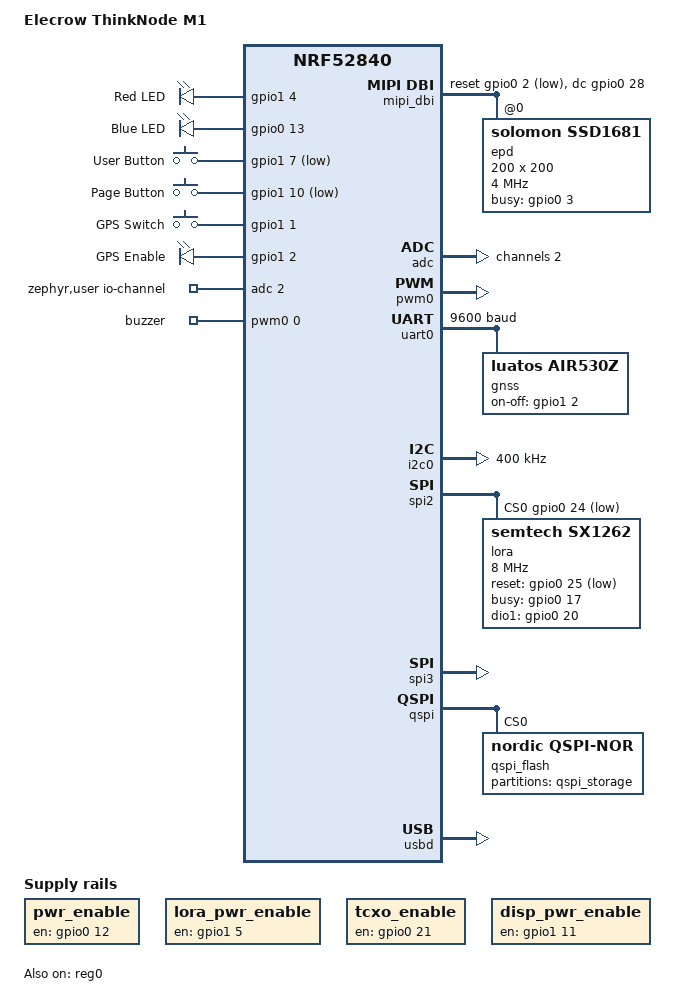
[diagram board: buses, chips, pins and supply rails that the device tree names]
/*
 * Elecrow ThinkNode M1 — nRF52840 + SX1262 + SSD1681 1.54" EPD
 * Copyright (c) 2025 ZephCore
 *
 * SPDX-License-Identifier: Apache-2.0
 *
 * Hardware:
 * - nRF52840 SoC with BLE 5
 * - SX1262 LoRa radio (DIO2 as RF switch, external TCXO 1.8V)
 * - SSD1681 1.54" 200x200 monochrome e-paper display (SPI)
 * - MX25R1635F 2MB QSPI flash
 * - GPS module on UART0 (9600 baud, multi-constellation)
 * - 1200 mAh battery with ADC on AIN2 (150K+150K divider)
 * - Buzzer on PWM0, user button (P1.10), page button (P1.07), GPS hardware switch
 * - LEDs: RED=P1.04, BLUE=P0.13
 *
 * Not connected on this target:
 * - Display SPI MISO
 * - GPS PPS
 */

/dts-v1/;
#include <nordic/nrf52840_qiaa.dtsi>
#include "thinknode_m1-pinctrl.dtsi"
#include <zephyr/dt-bindings/lora/sx126x.h>
#include <zephyr/dt-bindings/adc/nrf-saadc.h>
#include <zephyr/dt-bindings/input/input-event-codes.h>
#include <zephyr/dt-bindings/pwm/pwm.h>

/ {
	model = "Elecrow ThinkNode M1";
	compatible = "elecrow,thinknode-m1";

	chosen {
		zephyr,sram = &sram0;
		zephyr,flash = &flash0;
		zephyr,code-partition = &code_partition;
		zephyr,console = &cdc_acm_uart;
		zephyr,shell-uart = &cdc_acm_uart;
		zephyr,display = &epd;
	};

	aliases {
		lora0 = &lora;
		led0 = &led_red;
		led1 = &led_blue;
		lora-tx-led = &led_blue;
		sw0 = &user_button;
		watchdog0 = &wdt0;
		buzzer = &buzzer;
		gps-enable = &gps_enable_pin;
	};

	/* ---- LEDs (active-high, matches MeshCore LED_STATE_ON=HIGH) ---- */
	leds {
		compatible = "gpio-leds";

		led_red: led_0 {
			gpios = <&gpio1 4 GPIO_ACTIVE_HIGH>;
			label = "Red LED";
		};

		led_blue: led_1 {
			gpios = <&gpio0 13 GPIO_ACTIVE_HIGH>;
			label = "Blue LED";
		};
	};

	/* ---- Buttons ---- */
	buttons: buttons {
		compatible = "gpio-keys";

		/* Action / enter button (P1.07) — KEY_ENTER direct, no filter.
		 * action_page_enter() handles double-press confirmation internally. */
		user_button: button_0 {
			gpios = <&gpio1 7 (GPIO_PULL_UP | GPIO_ACTIVE_LOW)>;
			zephyr,code = <INPUT_KEY_ENTER>;
			label = "User Button";
		};

		/* Page turn button (P1.10) — raw KEY_0, consumed by multi-tap below. */
		page_button: button_1 {
			gpios = <&gpio1 10 (GPIO_PULL_UP | GPIO_ACTIVE_LOW)>;
			zephyr,code = <INPUT_KEY_0>;
			label = "Page Button";
		};
	};

	/* Input filter: page button multi-tap
	 * 1 tap  → KEY_1     = next page
	 * 2 taps → KEY_LEFT  = previous page */
	page_btn_multitap {
		compatible = "zephcore,input-multi-tap";
		input-codes = <INPUT_KEY_0>;
		tap-codes = <INPUT_KEY_1 INPUT_KEY_LEFT>;
		tap-delay-ms = <400>;
	};

	/* ---- Power control ---- */

	/* Board power enable — must be HIGH for peripherals to function */
	pwr_enable: pwr-enable {
		compatible = "regulator-fixed";
		regulator-name = "pwr-enable";
		enable-gpios = <&gpio0 12 GPIO_ACTIVE_HIGH>;
		regulator-boot-on;
	};

	/* LoRa radio power enable — must be HIGH before SX1262 can communicate */
	lora_pwr_enable: lora-pwr-enable {
		compatible = "regulator-fixed";
		regulator-name = "lora-pwr-enable";
		enable-gpios = <&gpio1 5 GPIO_ACTIVE_HIGH>;
		regulator-boot-on;
		startup-delay-us = <10000>;
	};

	/* External TCXO power enable — SX1262 DIO3 provides reference voltage,
	 * but the TCXO itself is powered through this separate GPIO */
	tcxo_enable: tcxo-enable {
		compatible = "regulator-fixed";
		regulator-name = "tcxo-enable";
		enable-gpios = <&gpio0 21 GPIO_ACTIVE_HIGH>;
		regulator-boot-on;
	};

	/* ---- GPS hardware switch (P1.01) ----
	 * Physical toggle switch on the board.
	 * HIGH = GPS ON, LOW = GPS OFF.
	 * Separate from the buttons node so it doesn't feed
	 * the page button multi-tap filter. */
	gps_switch: gps-switch {
		compatible = "gpio-keys";
		gps_sw: gps_sw {
			gpios = <&gpio1 1 GPIO_ACTIVE_HIGH>;
			zephyr,code = <INPUT_KEY_G>;
			label = "GPS Switch";
		};
	};

	/* GPS power control */
	gps_en: gps-enable {
		compatible = "gpio-leds";
		gps_enable_pin: gps_enable {
			gpios = <&gpio1 2 GPIO_ACTIVE_HIGH>;
			label = "GPS Enable";
		};
	};

	/* ---- Battery ADC ---- */
	/* 150K+150K voltage divider (2:1) on AIN2 (P0.04) */
	zephyr,user {
		io-channels = <&adc 2>;
		vbat-mv-multiplier = <7200>;
	};

	/* ---- Buzzer on PWM0 ---- */
	pwmbuzzer {
		compatible = "pwm-leds";
		buzzer: buzzer {
			pwms = <&pwm0 0 PWM_MSEC(20) PWM_POLARITY_NORMAL>;
		};
	};

	/* Display backlight enable (P1.11) — powers the e-paper frontlight.
	 * The hardware knob dims brightness; this GPIO gates the circuit.
	 * Controlled dynamically by display.c (on with display, off on auto-off)
	 * so the backlight is fully off when not needed. */
	disp_pwr_enable: disp-pwr-enable {
		compatible = "regulator-fixed";
		regulator-name = "disp-pwr-enable";
		enable-gpios = <&gpio1 11 GPIO_ACTIVE_HIGH>;
	};

	/* ---- E-Paper display (MIPI DBI SPI) ----
	 * SSD1681 1.54" 200x200 monochrome EPD on SPI3.
	 * The MIPI DBI node wraps the SPI bus with DC and RST GPIOs.
	 * Display is auto-detected by ZephCore display.c via the
	 * zephyr,display chosen node — EPD flag set automatically. */
	mipi_dbi {
		compatible = "zephyr,mipi-dbi-spi";
		spi-dev = <&spi3>;
		dc-gpios = <&gpio0 28 GPIO_ACTIVE_HIGH>;
		reset-gpios = <&gpio0 2 GPIO_ACTIVE_LOW>;
		#address-cells = <1>;
		#size-cells = <0>;

		epd: ssd16xxfb@0 {
			compatible = "solomon,ssd1681";
			mipi-max-frequency = <4000000>;
			reg = <0>;
			width = <200>;
			height = <200>;
			rotation = <270>;
			busy-gpios = <&gpio0 3 GPIO_ACTIVE_HIGH>;

			/* Use internal temperature sensor for OTP waveform selection. */
			tssv = <0x80>;

			/* OTP waveforms — no explicit LUT needed for SSD1681.
			 * border-waveform controls the 1-px border during refresh:
			 *   full    0x05 = border follows source (clean full reset)
			 *   partial 0x3c = Hi-Z (border held, no border flash) */
			full    { border-waveform = <0x05>; };
			partial { border-waveform = <0x3c>; };
		};
	};
};

/* ---- SoC configuration ---- */

&reg0 {
	status = "okay";
};

&reg1 {
	regulator-initial-mode = <NRF5X_REG_MODE_DCDC>;
};

&adc {
	status = "okay";
	#address-cells = <1>;
	#size-cells = <0>;

	/* Battery voltage on P0.04 (AIN2) */
	channel@2 {
		reg = <2>;
		zephyr,gain = "ADC_GAIN_1_6";
		zephyr,reference = "ADC_REF_INTERNAL";
		zephyr,acquisition-time = <ADC_ACQ_TIME(ADC_ACQ_TIME_MICROSECONDS, 10)>;
		zephyr,input-positive = <NRF_SAADC_AIN2>;
		zephyr,resolution = <12>;
	};
};

&uicr {
	nfct-pins-as-gpios;
};

&gpiote {
	status = "okay";
};

&gpio0 {
	status = "okay";
};

&gpio1 {
	status = "okay";
};

/* ---- PWM0 for buzzer ---- */
&pwm0 {
	status = "okay";
	pinctrl-0 = <&pwm0_default>;
	pinctrl-1 = <&pwm0_sleep>;
	pinctrl-names = "default", "sleep";
};

/* ---- GPS on UART0 (9600 baud) ----
 * Uses luatos,air530z driver (PCAS/NMEA protocol).
 * GPS power controlled via on-off-gpios (P1.02 = GPS_EN). */
&uart0 {
	compatible = "nordic,nrf-uarte";
	status = "okay";
	current-speed = <9600>;
	pinctrl-0 = <&uart0_default>;
	pinctrl-1 = <&uart0_sleep>;
	pinctrl-names = "default", "sleep";

	gnss: gnss {
		compatible = "luatos,air530z";
		on-off-gpios = <&gpio1 2 GPIO_ACTIVE_HIGH>;
	};
};

/* ---- I2C0 for RTC and external sensors ---- */
&i2c0 {
	compatible = "nordic,nrf-twim";
	status = "okay";
	clock-frequency = <I2C_BITRATE_FAST>;
	pinctrl-0 = <&i2c0_default>;
	pinctrl-1 = <&i2c0_sleep>;
	pinctrl-names = "default", "sleep";

	/* All supported environment & power sensors — auto-detected at runtime */
	#include "../../common/sensors-i2c.dtsi"
};

/* ---- SPI2 for LoRa SX1262 ---- */
&spi2 {
	compatible = "nordic,nrf-spim";
	status = "okay";
	pinctrl-0 = <&spi2_default>;
	pinctrl-1 = <&spi2_sleep>;
	pinctrl-names = "default", "sleep";
	cs-gpios = <&gpio0 24 GPIO_ACTIVE_LOW>;   /* P0.24 LORA_CS */

	lora: lora@0 {
		compatible = "semtech,sx1262";
		reg = <0>;
		spi-max-frequency = <8000000>;

		/* LoRa control pins */
		reset-gpios = <&gpio0 25 GPIO_ACTIVE_LOW>;    /* P0.25 */
		busy-gpios = <&gpio0 17 GPIO_ACTIVE_HIGH>;    /* P0.17 */
		dio1-gpios = <&gpio0 20 (GPIO_PULL_DOWN | GPIO_ACTIVE_HIGH)>;  /* P0.20 */

		/* DIO2 drives RF switch for TX */
		dio2-tx-enable;

		/* TCXO voltage 1.8V via DIO3 */
		dio3-tcxo-voltage = <SX126X_DIO3_TCXO_1V8>;
		tcxo-power-startup-delay-ms = <10>;

		/* RX boosted mode for better sensitivity */
		rx-boosted;
	};
};

/* ---- SPI3 for E-Paper display ---- */
&spi3 {
	compatible = "nordic,nrf-spim";
	status = "okay";
	pinctrl-0 = <&spi3_default>;
	pinctrl-1 = <&spi3_sleep>;
	pinctrl-names = "default", "sleep";
	cs-gpios = <&gpio0 30 GPIO_ACTIVE_LOW>;   /* P0.30 DISP_CS */
};

/* ---- QSPI Flash — MX25R1635F 2MB ---- */
&qspi {
	status = "okay";
	pinctrl-0 = <&qspi_default>;
	pinctrl-1 = <&qspi_sleep>;
	pinctrl-names = "default", "sleep";

	qspi_flash: qspi_flash@0 {
		compatible = "nordic,qspi-nor";
		reg = <0>;
		writeoc = "pp";
		readoc = "fastread";
		sck-frequency = <16000000>;
		jedec-id = [c2 28 15];        /* MX25R1635F */
		size = <16777216>;            /* 2MB = 16Mbit */
		has-dpd;
		t-enter-dpd = <10000>;
		t-exit-dpd = <35000>;
	};
};

/* ---- USB CDC for console/CLI ---- */
zephyr_udc0: &usbd {
	compatible = "nordic,nrf-usbd";
	status = "okay";

	cdc_acm_uart: cdc_acm_uart {
		compatible = "zephyr,cdc-acm-uart";
	};
};

/* ---- Flash partitions (SoftDevice v6, app@0x26000) ---- */
#include "../../common/nrf52_partitions_sdv6.dtsi"

/* ---- External QSPI flash partitions ---- */
&qspi_flash {
	partitions {
		compatible = "fixed-partitions";
		#address-cells = <1>;
		#size-cells = <1>;

		/* Full 2MB for LittleFS storage */
		qspi_storage_partition: partition@0 {
			label = "qspi_storage";
			reg = <0x00000000 0x00200000>;
		};
	};
};

/* ---- External QSPI /ext automount ---- */
#include "../../common/qspi-ext.dtsi"
#include "../../common/nrf52_wakeup.dtsi"
